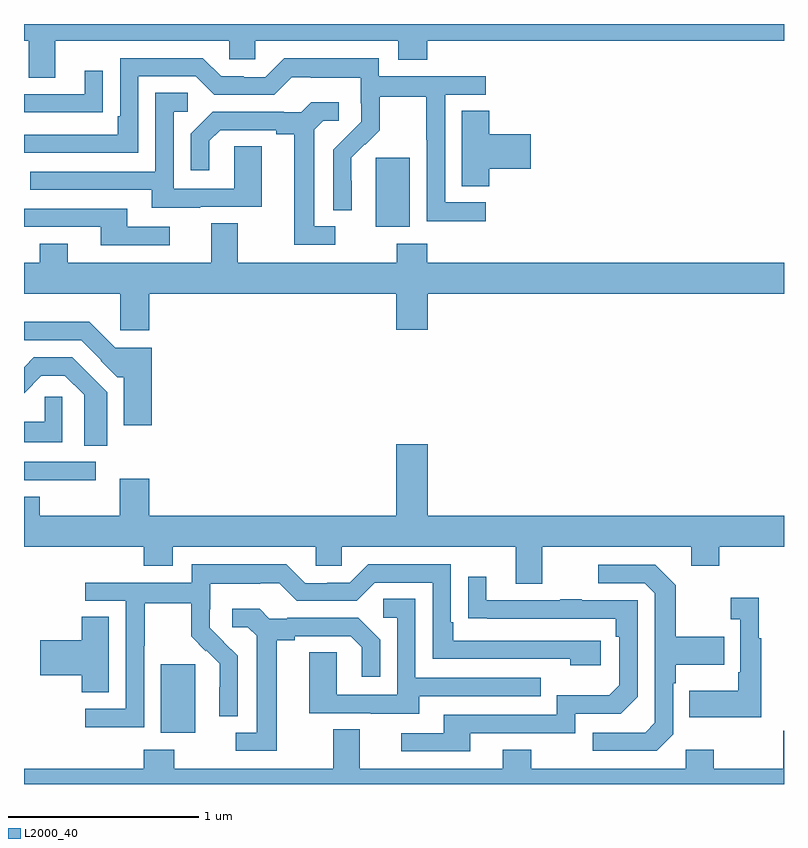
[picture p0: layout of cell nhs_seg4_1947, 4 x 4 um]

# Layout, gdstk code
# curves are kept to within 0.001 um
import gdstk
lib = gdstk.Library(unit=1e-6, precision=1e-09)
def R(c, l, rs):  # rectangles x0, y0, x1, y1
    for r in rs: c.add(gdstk.rectangle(r[:2], r[2:], *l))
def P(c, l, *ps):  # polygons
    for p in ps: c.add(gdstk.Polygon(p, *l))
L2000_40 = (2000, 40)

nhs_seg4_1947 = lib.new_cell('nhs_seg4_1947')
R(nhs_seg4_1947, L2000_40, [(211.721,801.17,211.9,801.531), (211,802.5,211.378,802.596), (212.852,803.834,213.031,804.195)])
P(nhs_seg4_1947, L2000_40, [(211.165,804.812),(212.079,804.812),(212.079,804.714),(212.217,804.714),(212.217,804.812),(212.969,804.812),(212.969,804.713),(213.122,804.713),(213.122,804.812),(215,804.812),(215,804.9),(211,804.9),(211,804.812),(211.025,804.812),(211.025,804.618),(211.165,804.618)],
  [(213.43,803.961),(213.216,803.961),(213.216,804.528),(213.43,804.528),(213.43,804.624),(212.868,804.624),(212.868,804.721),(212.371,804.721),(212.271,804.621),(212.156,804.621),(212.156,804.624),(212.037,804.624),(211.941,804.72),(211.506,804.72),(211.506,804.415),(211.493,804.415),(211.493,804.318),(211,804.318),(211,804.222),(211.602,804.222),(211.602,804.624),(211.905,804.624),(212.001,804.528),(212.316,804.528),(212.409,804.621),(212.509,804.621),(212.509,804.617),(212.772,804.617),(212.772,804.483),(212.774,804.483),(212.774,804.386),(212.628,804.238),(212.628,803.92),(212.724,803.92),(212.723,804.197),(212.793,804.267),(212.796,804.264),(212.873,804.341),(212.873,804.516),(213.118,804.516),(213.118,804.292),(213.12,804.292),(213.12,803.863),(213.43,803.863)],
  [(211.313,804.436),(211.415,804.436),(211.415,804.655),(211.319,804.655),(211.319,804.531),(211,804.531),(211,804.435),(211.313,804.435)],
  [(211.927,803.937),(212.251,803.937),(212.251,804.257),(212.106,804.257),(212.106,804.033),(211.788,804.033),(211.788,804.438),(211.861,804.438),(211.861,804.539),(211.692,804.539),(211.692,804.123),(211.033,804.123),(211.033,804.027),(211.673,804.027),(211.673,803.933),(211.927,803.933)],
  [(212.638,803.835),(212.527,803.835),(212.527,804.343),(212.574,804.39),(212.656,804.39),(212.656,804.487),(212.512,804.487),(212.46,804.435),(212.366,804.435),(212.366,804.438),(211.994,804.438),(211.878,804.322),(211.878,804.129),(211.975,804.129),(211.975,804.285),(212.032,804.342),(212.327,804.342),(212.327,804.32),(212.423,804.32),(212.423,803.739),(212.638,803.739)],
  [(213.449,804.137),(213.667,804.137),(213.667,804.32),(213.449,804.32),(213.449,804.443),(213.305,804.443),(213.305,804.046),(213.449,804.046)],
  [(211.768,803.832),(211.543,803.832),(211.543,803.928),(211,803.928),(211,803.832),(211.403,803.832),(211.403,803.736),(211.768,803.736)],
  [(212.962,803.743),(212.962,803.644),(212.125,803.644),(212.125,803.852),(211.985,803.852),(211.985,803.644),(211.231,803.644),(211.231,803.743),(211.084,803.743),(211.084,803.644),(211,803.644),(211,803.48),(211.507,803.48),(211.507,803.289),(211.658,803.289),(211.658,803.48),(212.96,803.48),(212.96,803.292),(213.124,803.292),(213.124,803.48),(215,803.48),(215,803.644),(213.122,803.644),(213.122,803.743)],
  [(211.673,803.196),(211.479,803.196),(211.343,803.332),(211,803.332),(211,803.235),(211.302,803.235),(211.407,803.13),(211.404,803.127),(211.492,803.04),(211.526,803.04),(211.526,802.788),(211.673,802.788)],
  [(211.438,802.961),(211.35,803.049),(211.351,803.049),(211.255,803.145),(211.052,803.145),(211,803.093),(211,802.957),(211.092,803.049),(211.215,803.049),(211.317,802.948),(211.317,802.681),(211.438,802.681)],
  [(211.202,802.939),(211.108,802.939),(211.108,802.807),(211,802.807),(211,802.7),(211.202,802.7)],
  [(213.727,802.148),(214.511,802.148),(214.511,802.049),(214.659,802.049),(214.659,802.148),(215,802.148),(215,802.312),(213.124,802.312),(213.124,802.687),(212.96,802.687),(212.96,802.312),(211.658,802.312),(211.658,802.507),(211.505,802.507),(211.505,802.312),(211.083,802.312),(211.083,802.411),(211,802.411),(211,802.148),(211.631,802.148),(211.631,802.049),(211.783,802.049),(211.783,802.148),(212.535,802.148),(212.535,802.05),(212.673,802.05),(212.673,802.148),(213.587,802.148),(213.587,801.954),(213.727,801.954)],
  [(211.632,801.628),(211.635,801.628),(211.635,801.852),(211.879,801.852),(211.879,801.677),(211.956,801.6),(211.959,801.603),(212.03,801.533),(212.03,801.41),(212.028,801.41),(212.028,801.256),(212.124,801.256),(212.124,801.574),(211.978,801.722),(211.978,801.819),(211.98,801.819),(211.98,801.953),(212.243,801.953),(212.243,801.957),(212.343,801.957),(212.436,801.864),(212.751,801.864),(212.847,801.96),(213.15,801.96),(213.15,801.558),(213.875,801.558),(213.875,801.524),(214.036,801.524),(214.036,801.654),(213.259,801.654),(213.259,801.751),(213.246,801.751),(213.246,802.056),(212.811,802.056),(212.715,801.96),(212.597,801.96),(212.597,801.957),(212.481,801.957),(212.381,802.057),(211.884,802.057),(211.884,801.96),(211.323,801.96),(211.323,801.864),(211.536,801.864),(211.536,801.297),(211.323,801.297),(211.323,801.199),(211.632,801.199)],
  [(214.416,801.162),(214.416,801.431),(214.429,801.431),(214.429,801.527),(214.685,801.527),(214.685,801.675),(214.429,801.675),(214.429,801.947),(214.323,802.053),(214.023,802.053),(214.023,801.957),(214.266,801.957),(214.32,801.903),(214.32,801.222),(214.269,801.171),(213.993,801.171),(213.993,801.075),(214.329,801.075)],
  [(213.349,801.168),(213.9,801.168),(213.9,801.27),(214.14,801.27),(214.23,801.36),(214.23,801.867),(213.935,801.867),(213.935,801.872),(213.823,801.872),(213.823,801.867),(213.433,801.867),(213.433,801.991),(213.337,801.991),(213.337,801.772),(214.114,801.771),(214.114,801.674),(214.134,801.674),(214.134,801.42),(214.081,801.367),(213.804,801.367),(213.804,801.264),(213.209,801.264),(213.209,801.168),(212.985,801.168),(212.985,801.072),(213.349,801.072)],
  [(214.879,801.667),(214.867,801.667),(214.867,801.88),(214.719,801.88),(214.719,801.767),(214.77,801.767),(214.77,801.487),(214.758,801.487),(214.758,801.391),(214.501,801.391),(214.501,801.251),(214.879,801.251)],
  [(213.079,801.363),(213.719,801.363),(213.719,801.459),(213.06,801.459),(213.06,801.875),(212.892,801.875),(212.892,801.774),(212.964,801.774),(212.964,801.369),(212.646,801.369),(212.646,801.593),(212.501,801.593),(212.501,801.273),(212.825,801.273),(212.825,801.269),(213.079,801.269)],
  [(212.329,801.656),(212.425,801.656),(212.425,801.678),(212.72,801.678),(212.777,801.621),(212.777,801.465),(212.874,801.465),(212.874,801.658),(212.758,801.774),(212.386,801.774),(212.386,801.771),(212.292,801.771),(212.24,801.823),(212.097,801.823),(212.097,801.726),(212.178,801.726),(212.225,801.679),(212.225,801.171),(212.115,801.171),(212.115,801.075),(212.329,801.075)],
  [(211.447,801.779),(211.304,801.779),(211.304,801.656),(211.086,801.656),(211.086,801.473),(211.304,801.473),(211.304,801.382),(211.447,801.382)],
  [(215,801.179),(214.996,801.179),(214.996,800.98),(214.629,800.98),(214.629,801.079),(214.482,801.079),(214.482,800.98),(213.669,800.98),(213.669,801.079),(213.521,801.079),(213.521,800.98),(212.767,800.98),(212.767,801.188),(212.627,801.188),(212.627,800.98),(211.791,800.98),(211.791,801.079),(211.631,801.079),(211.631,800.98),(211,800.98),(211,800.9),(215,800.9)])

lib.write_gds('nhs_seg4_1947.gds')
